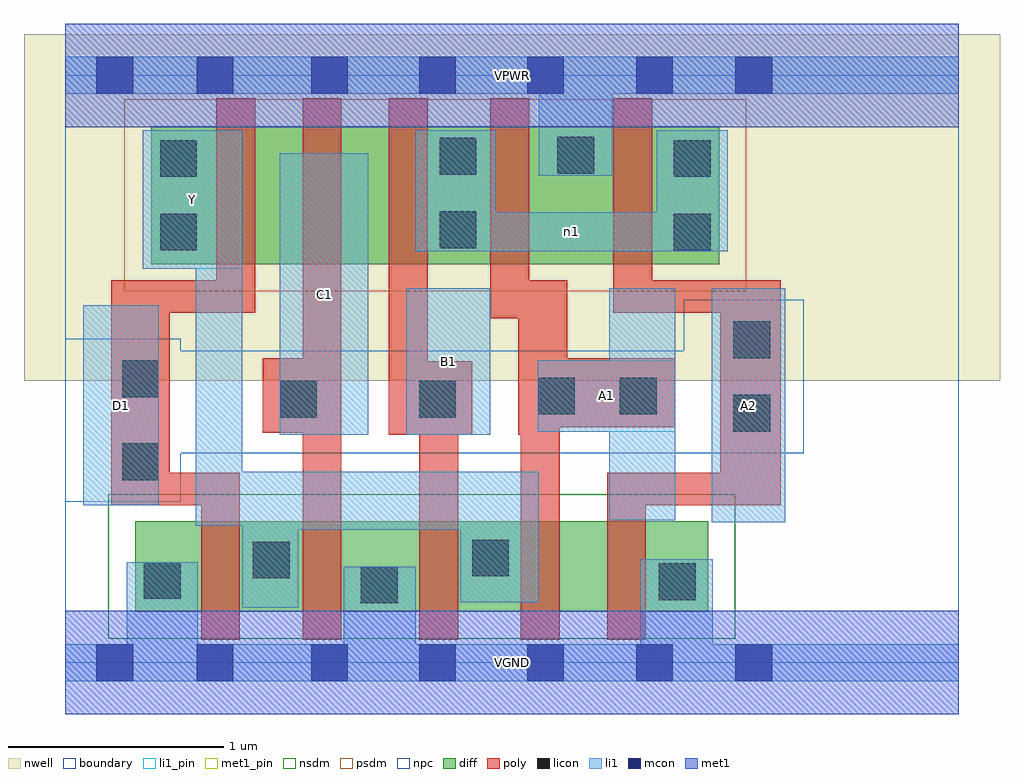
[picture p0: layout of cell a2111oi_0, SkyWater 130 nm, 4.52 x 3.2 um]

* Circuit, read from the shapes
.subckt a2111oi_0 A1 A2 B1 C1 D1 VGND VPWR Y n1
XM1 Y D1 VGND VSUBS sky130_fd_pr__nfet_01v8 w=0.42 l=0.18
XM2 VGND C1 Y VSUBS sky130_fd_pr__nfet_01v8 w=0.42 l=0.18
XM3 Y B1 VGND VSUBS sky130_fd_pr__nfet_01v8 w=0.42 l=0.18
XM4 n2 A1 Y VSUBS sky130_fd_pr__nfet_01v8 w=0.42 l=0.18
XM5 VGND A2 n2 VSUBS sky130_fd_pr__nfet_01v8 w=0.42 l=0.18
XM6 n3 D1 Y n4 sky130_fd_pr__pfet_01v8 w=0.64 l=0.18
XM7 n5 C1 n3 n4 sky130_fd_pr__pfet_01v8 w=0.64 l=0.18
XM8 n1 B1 n5 n4 sky130_fd_pr__pfet_01v8 w=0.64 l=0.18
XM9 VPWR A1 n1 n4 sky130_fd_pr__pfet_01v8 w=0.64 l=0.18
XM10 n1 A2 VPWR n4 sky130_fd_pr__pfet_01v8 w=0.64 l=0.18
.ends

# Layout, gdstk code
import gdstk
lib = gdstk.Library(unit=1e-6, precision=1e-09)
def R(c, l, rs):  # rectangles x0, y0, x1, y1
    for r in rs: c.add(gdstk.rectangle(r[:2], r[2:], *l))
def A(c, l, x, y, w, h, nx, ny, dx, dy):  # array of equal rectangles
    R(c, l, [(x+i*dx, y+j*dy, x+i*dx+w, y+j*dy+h) for i in range(nx) for j in range(ny)])
nwell = (64, 20)
diff = (65, 20)
poly = (66, 20)
licon = (66, 44)
li1_pin = (67, 16)
li1 = (67, 20)
mcon = (67, 44)
met1_pin = (68, 16)
met1 = (68, 20)
nsdm = (93, 44)
psdm = (94, 20)
npc = (95, 20)
boundary = (235, 4)

a2111oi_0 = lib.new_cell('a2111oi_0')
R(a2111oi_0, nwell, [(-0.19,1.305,4.33,2.91), (0,1.305,4.14,2.91)])
R(a2111oi_0, diff, [(0.325,0.235,2.98,0.655), (0.4,1.845,3.03,2.485)])
R(a2111oi_0, poly, [(0.63,0.105,0.81,0.88), (1.1,0.105,1.28,2.615), (1.64,0.105,1.82,1.395), (2.11,0.105,2.29,1.77), (2.51,0.105,2.69,0.88), (0.215,0.73,0.485,1.77), (0.215,0.73,0.81,0.88), (2.51,0.73,3.315,0.88), (3.035,0.73,3.315,1.77), (1.5,1.055,1.68,2.615), (1.5,1.055,1.885,1.395), (2.1,1.055,2.29,1.77), (0.915,1.065,1.28,1.41), (2.1,1.09,2.825,1.41), (2.1,1.09,2.325,1.77), (1.97,1.595,2.15,2.615), (0.215,1.62,0.88,1.77), (0.7,1.62,0.88,2.615), (2.54,1.62,2.72,2.615), (2.54,1.62,3.315,1.77)])
R(a2111oi_0, licon, [(1.37,0.275,1.54,0.445), (2.75,0.29,2.92,0.46), (0.365,0.295,0.535,0.465), (0.87,0.39,1.04,0.56), (1.885,0.4,2.055,0.57), (0.265,0.845,0.435,1.015), (3.095,1.07,3.265,1.24), (0.995,1.135,1.165,1.305), (1.64,1.135,1.81,1.305), (2.19,1.15,2.36,1.32), (2.57,1.15,2.74,1.32), (0.265,1.23,0.435,1.4), (3.095,1.41,3.265,1.58), (0.44,1.91,0.61,2.08), (2.82,1.91,2.99,2.08), (1.735,1.92,1.905,2.09), (0.44,2.25,0.61,2.42), (2.82,2.25,2.99,2.42), (1.735,2.26,1.905,2.43), (2.28,2.265,2.45,2.435)])
R(a2111oi_0, li1_pin, [(2.995,0.65,3.335,1.735), (0.085,0.73,0.435,1.655), (0.995,1.055,1.405,2.36), (1.58,1.055,1.97,1.735), (2.19,1.07,2.825,1.4), (0.36,1.825,0.82,2.465)])
R(a2111oi_0, li1, [(0,-0.085,4.14,0.085), (0.285,-0.085,0.615,0.465), (1.29,-0.085,1.625,0.445), (2.665,-0.085,3,0.48), (0.82,0.255,1.08,0.885), (1.83,0.28,2.195,0.885), (0.82,0.615,2.195,0.885), (0.605,0.635,0.82,2.465), (2.995,0.65,3.335,1.735), (2.52,0.66,2.825,1.735), (0.085,0.73,0.435,1.655), (0.995,1.055,1.405,2.36), (1.58,1.055,1.97,1.735), (2.19,1.07,2.825,1.4), (0.36,1.825,0.82,2.465), (1.625,1.905,3.07,2.085), (1.625,1.905,1.995,2.465), (2.74,1.905,3.07,2.465), (2.195,2.255,2.535,2.805), (0,2.635,4.14,2.805)])
A(a2111oi_0, mcon, 1.14, -0.085, 0.17, 0.17, 3, 2, 0.5, 2.72)
R(a2111oi_0, mcon, [(0.145,-0.085,0.315,0.085), (0.61,-0.085,0.78,0.085), (2.645,-0.085,2.815,0.085), (3.105,-0.085,3.275,0.085), (0.145,2.635,0.315,2.805), (0.61,2.635,0.78,2.805), (2.645,2.635,2.815,2.805), (3.105,2.635,3.275,2.805)])
R(a2111oi_0, met1_pin, [(0,-0.24,4.14,0.24), (0,2.48,4.14,2.96)])
R(a2111oi_0, met1, [(0,-0.24,4.14,0.24), (0,2.48,4.14,2.96)])
R(a2111oi_0, nsdm, [(0.2,0.11,3.105,0.78)])
R(a2111oi_0, psdm, [(0.275,1.72,3.155,2.61)])
R(a2111oi_0, npc, [(0,0.745,0.535,1.5), (0,0.97,3.42,1.445), (2.865,0.97,3.42,1.68)])
R(a2111oi_0, boundary, [(0,0,4.14,2.72)])
a2111oi_0.add(gdstk.Label('A1', (2.507,1.235), layer=67, texttype=5))
a2111oi_0.add(gdstk.Label('A2', (3.165,1.192), layer=67, texttype=5))
a2111oi_0.add(gdstk.Label('B1', (1.775,1.395), layer=67, texttype=5))
a2111oi_0.add(gdstk.Label('C1', (1.2,1.707), layer=67, texttype=5))
a2111oi_0.add(gdstk.Label('D1', (0.26,1.192), layer=67, texttype=5))
a2111oi_0.add(gdstk.Label('Y', (0.59,2.145), layer=67, texttype=5))
a2111oi_0.add(gdstk.Label('n1', (2.347,1.995), layer=67, texttype=5))
a2111oi_0.add(gdstk.Label('VPWR', (2.07,2.72), layer=68, texttype=5))
a2111oi_0.add(gdstk.Label('VGND', (2.07,0), layer=68, texttype=5))
a2111oi_0.add(gdstk.Label('A1', (2.507,1.235), layer=67, texttype=16))
a2111oi_0.add(gdstk.Label('A2', (3.165,1.192), layer=67, texttype=16))
a2111oi_0.add(gdstk.Label('B1', (1.775,1.395), layer=67, texttype=16))
a2111oi_0.add(gdstk.Label('C1', (1.2,1.707), layer=67, texttype=16))
a2111oi_0.add(gdstk.Label('D1', (0.26,1.192), layer=67, texttype=16))
a2111oi_0.add(gdstk.Label('Y', (0.59,2.145), layer=67, texttype=16))
a2111oi_0.add(gdstk.Label('VPWR', (2.07,2.72), layer=68, texttype=16))
a2111oi_0.add(gdstk.Label('VGND', (2.07,0), layer=68, texttype=16))

lib.write_gds('a2111oi_0.gds')
